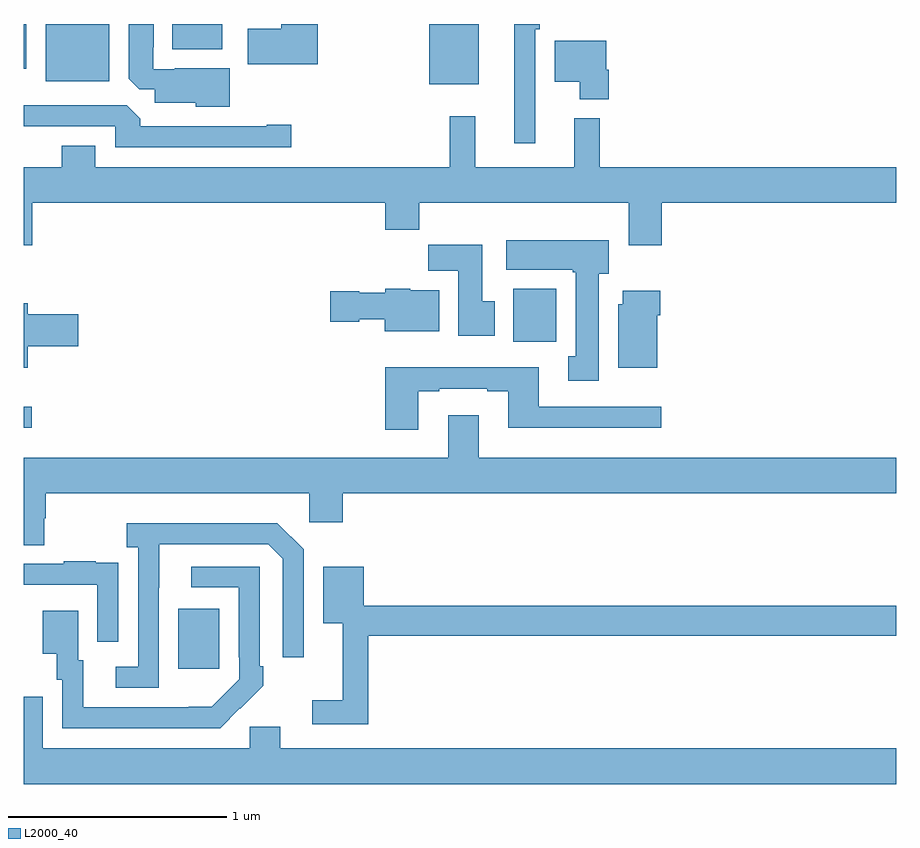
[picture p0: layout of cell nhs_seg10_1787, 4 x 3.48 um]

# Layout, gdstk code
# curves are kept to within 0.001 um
import gdstk
lib = gdstk.Library(unit=1e-6, precision=1e-09)
def R(c, l, rs):  # rectangles x0, y0, x1, y1
    for r in rs: c.add(gdstk.rectangle(r[:2], r[2:], *l))
def P(c, l, *ps):  # polygons
    for p in ps: c.add(gdstk.Polygon(p, *l))
L2000_40 = (2000, 40)

nhs_seg10_1787 = lib.new_cell('nhs_seg10_1787')
R(nhs_seg10_1787, L2000_40, [(205.709,1267.545,205.897,1267.819), (205,1268.648,205.036,1268.745), (207.245,1269.044,207.442,1269.286), (206.858,1270.223,207.085,1270.5), (205.1,1270.238,205.393,1270.5), (205,1270.296,205.012,1270.5), (205.682,1270.385,205.909,1270.5)])
P(nhs_seg10_1787, L2000_40, [(205.945,1270.297),(205.693,1270.297),(205.693,1270.293),(205.593,1270.293),(205.593,1270.393),(205.597,1270.393),(205.597,1270.5),(205.481,1270.5),(205.481,1270.249),(205.53,1270.2),(205.601,1270.2),(205.601,1270.139),(205.788,1270.139),(205.788,1270.121),(205.945,1270.121)],
  [(206.348,1270.5),(206.18,1270.5),(206.18,1270.479),(206.028,1270.479),(206.028,1270.316),(206.348,1270.316)],
  [(207.345,1270.475),(207.365,1270.475),(207.365,1270.5),(207.248,1270.5),(207.248,1269.954),(207.345,1269.954)],
  [(207.683,1270.29),(207.67,1270.29),(207.67,1270.423),(207.434,1270.423),(207.434,1270.235),(207.548,1270.235),(207.548,1270.154),(207.683,1270.154)],
  [(206.227,1270.037),(206.114,1270.037),(206.114,1270.032),(205.535,1270.032),(205.535,1270.066),(205.473,1270.128),(205,1270.128),(205,1270.032),(205.419,1270.032),(205.419,1269.936),(206.227,1269.936)],
  [(205.04,1269.68),(206.657,1269.68),(206.657,1269.556),(206.813,1269.556),(206.813,1269.68),(207.773,1269.68),(207.773,1269.486),(207.926,1269.486),(207.926,1269.68),(209,1269.68),(209,1269.844),(207.641,1269.844),(207.641,1270.069),(207.524,1270.069),(207.524,1269.844),(207.071,1269.844),(207.071,1270.078),(206.953,1270.078),(206.953,1269.844),(205.327,1269.844),(205.327,1269.943),(205.175,1269.943),(205.175,1269.844),(205,1269.844),(205,1269.486),(205.04,1269.486)],
  [(207.637,1269.354),(207.682,1269.354),(207.682,1269.508),(207.213,1269.508),(207.213,1269.374),(207.517,1269.374),(207.517,1269.361),(207.53,1269.361),(207.53,1268.978),(207.497,1268.978),(207.497,1268.865),(207.637,1268.865)],
  [(207.16,1269.228),(207.103,1269.228),(207.103,1269.487),(206.854,1269.487),(206.854,1269.368),(206.993,1269.368),(206.993,1269.072),(207.16,1269.072)],
  [(206.905,1269.28),(206.772,1269.28),(206.772,1269.286),(206.658,1269.286),(206.658,1269.268),(206.538,1269.268),(206.538,1269.276),(206.406,1269.276),(206.406,1269.134),(206.538,1269.134),(206.538,1269.146),(206.654,1269.146),(206.654,1269.092),(206.905,1269.092)],
  [(207.904,1269.164),(207.917,1269.164),(207.917,1269.277),(207.746,1269.277),(207.746,1269.216),(207.725,1269.216),(207.725,1268.924),(207.904,1268.924)],
  [(205.018,1269.023),(205.249,1269.023),(205.249,1269.17),(205.018,1269.17),(205.018,1269.22),(205,1269.22),(205,1268.924),(205.018,1268.924)],
  [(206.809,1268.817),(206.905,1268.817),(206.905,1268.829),(207.125,1268.829),(207.125,1268.817),(207.221,1268.817),(207.221,1268.648),(207.922,1268.648),(207.922,1268.745),(207.361,1268.745),(207.361,1268.926),(206.657,1268.926),(206.657,1268.64),(206.809,1268.64)],
  [(205.095,1268.235),(205.1,1268.235),(205.1,1268.348),(206.31,1268.348),(206.31,1268.217),(206.462,1268.217),(206.462,1268.348),(209,1268.348),(209,1268.512),(207.085,1268.512),(207.085,1268.707),(206.945,1268.707),(206.945,1268.512),(205,1268.512),(205,1268.11),(205.095,1268.11)],
  [(205.62,1267.915),(205.621,1268.115),(206.121,1268.115),(206.187,1268.049),(206.187,1267.596),(206.283,1267.596),(206.283,1268.091),(206.162,1268.212),(205.473,1268.212),(205.473,1268.102),(205.524,1268.102),(205.524,1267.554),(205.422,1267.554),(205.422,1267.458),(205.62,1267.458)],
  [(205.434,1267.922),(205.433,1267.922),(205.433,1268.031),(205.331,1268.031),(205.331,1268.038),(205.183,1268.038),(205.183,1268.025),(205,1268.025),(205,1267.929),(205.338,1267.929),(205.338,1267.668),(205.434,1267.668)],
  [(205.991,1267.363),(205.992,1267.362),(206.097,1267.467),(206.097,1267.555),(206.082,1267.555),(206.082,1268.013),(205.767,1268.013),(205.767,1267.917),(205.986,1267.917),(205.986,1267.597),(205.989,1267.597),(205.989,1267.497),(205.861,1267.369),(205.273,1267.368),(205.273,1267.584),(205.249,1267.584),(205.249,1267.81),(205.088,1267.81),(205.088,1267.613),(205.151,1267.613),(205.151,1267.494),(205.176,1267.494),(205.176,1267.272),(205.9,1267.272)],
  [(206.579,1267.696),(209,1267.696),(209,1267.832),(206.559,1267.832),(206.559,1268.011),(206.372,1268.011),(206.372,1267.754),(206.462,1267.754),(206.462,1267.399),(206.322,1267.399),(206.322,1267.29),(206.579,1267.29)],
  [(209,1267.18),(206.176,1267.18),(206.176,1267.278),(206.037,1267.278),(206.037,1267.18),(205.087,1267.18),(205.087,1267.416),(205,1267.416),(205,1267.016),(209,1267.016)])

lib.write_gds('nhs_seg10_1787.gds')
